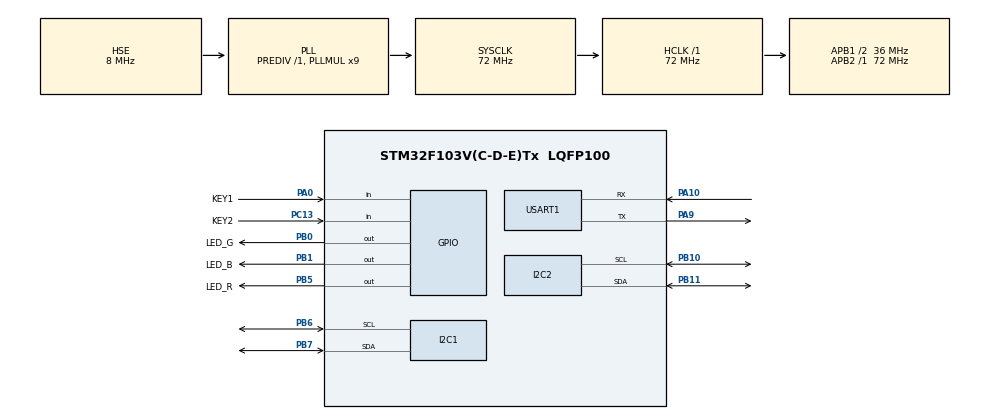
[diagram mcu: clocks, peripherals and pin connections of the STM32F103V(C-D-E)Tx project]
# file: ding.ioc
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Mcu.Family=STM32F1
Mcu.Name=STM32F103V(C-D-E)Tx
Mcu.Package=LQFP100
NVIC.PriorityGroup=NVIC_PRIORITYGROUP_4
NVIC.TIM2_IRQn=true\:0\:0\:false\:false\:true\:false\:true
NVIC.TIM3_IRQn=true\:4\:0\:true\:false\:true\:true\:true
NVIC.TIM4_IRQn=true\:5\:0\:true\:false\:true\:true\:true
NVIC.TimeBase=TIM2_IRQn
NVIC.TimeBaseIP=TIM2
NVIC.USART1_IRQn=true\:2\:0\:true\:false\:true\:true\:true
OSC_IN.Mode=HSE-External-Oscillator
OSC_IN.Signal=RCC_OSC_IN
OSC_OUT.Mode=HSE-External-Oscillator
OSC_OUT.Signal=RCC_OSC_OUT
PA0-WKUP.GPIO_Label=KEY1
PA0-WKUP.Signal=GPIO_Input
PA10.Mode=Asynchronous
PA10.Signal=USART1_RX
PA13.Mode=Serial_Wire
PA13.Signal=SYS_JTMS-SWDIO
PA14.Mode=Serial_Wire
PA14.Signal=SYS_JTCK-SWCLK
PA9.Mode=Asynchronous
PA9.Signal=USART1_TX
PB0.GPIO_Label=LED_G
PB0.GPIO_Speed=GPIO_SPEED_FREQ_HIGH
PB0.PinState=GPIO_PIN_SET
PB0.Signal=GPIO_Output
PB1.GPIO_Label=LED_B
PB1.GPIO_Speed=GPIO_SPEED_FREQ_HIGH
PB1.PinState=GPIO_PIN_SET
PB1.Signal=GPIO_Output
PB10.Mode=I2C
PB10.Signal=I2C2_SCL
PB11.Mode=I2C
PB11.Signal=I2C2_SDA
PB5.GPIO_Label=LED_R
PB5.GPIO_Speed=GPIO_SPEED_FREQ_HIGH
PB5.PinState=GPIO_PIN_SET
PB5.Signal=GPIO_Output
PB6.Mode=I2C
PB6.Signal=I2C1_SCL
PB7.Mode=I2C
PB7.Signal=I2C1_SDA
PC13-TAMPER-RTC.GPIO_Label=KEY2
PC13-TAMPER-RTC.Signal=GPIO_Input
ProjectManager.HeapSize=0x0
ProjectManager.StackSize=0x400
ProjectManager.TargetToolchain=MDK-ARM V5
RCC.AHBFreq_Value=72000000
RCC.APB1CLKDivider=RCC_HCLK_DIV2
RCC.APB1Freq_Value=36000000
RCC.APB1TimFreq_Value=72000000
RCC.APB2Freq_Value=72000000
RCC.APB2TimFreq_Value=72000000
RCC.HCLKFreq_Value=72000000
RCC.PLLMUL=RCC_PLL_MUL9
RCC.PLLSourceVirtual=RCC_PLLSOURCE_HSE
RCC.SYSCLKFreq_VALUE=72000000
RCC.SYSCLKSource=RCC_SYSCLKSOURCE_PLLCLK
RCC.USBFreq_Value=72000000
TIM3.AutoReloadPreload=TIM_AUTORELOAD_PRELOAD_ENABLE
TIM3.Period=9999
TIM3.Prescaler=7199
TIM4.AutoReloadPreload=TIM_AUTORELOAD_PRELOAD_ENABLE
TIM4.Period=9999
TIM4.Prescaler=7199
USART1.VirtualMode=VM_ASYNC
VP_SYS_VS_tim2.Mode=TIM2
VP_TIM3_VS_ClockSourceINT.Mode=Internal
VP_TIM4_VS_ClockSourceINT.Mode=Internal
board=custom

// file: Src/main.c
/* USER CODE BEGIN Header */
/**
  ******************************************************************************
  * @file           : main.c
  * @brief          : Main program body
  ******************************************************************************
  * @attention
  *
  * <h2><center>&copy; Copyright (c) 2020 STMicroelectronics.
  * All rights reserved.</center></h2>
  *
  * This software component is licensed by ST under BSD 3-Clause license,
  * the "License"; You may not use this file except in compliance with the
  * License. You may obtain a copy of the License at:
  *                        opensource.org/licenses/BSD-3-Clause
  *
  ******************************************************************************
  */
/* USER CODE END Header */

#include "main.h"
#include "i2c.h"
#include "tim.h"
#include "usart.h"
#include "gpio.h"

/* USER CODE BEGIN Includes */
#include "bsp_led.h"
#include "bsp_key.h"
#include "bsp_usart.h"

#include "FreeRTOS.h"
#include "task.h"

/* USER CODE END Includes */

void SystemClock_Config(void);
/* USER CODE BEGIN PFP */
void start_task(void *pvParameters);
void interrupt_task(void *pvParameters);

/* USER CODE END PFP */

/* USER CODE BEGIN 0 */
#define START_TASK_SIZE    128
#define START_TASK_PRIO    1
TaskHandle_t Start_Task_Handle;

#define INTERRUPT_TASK_SIZE   	128
#define INTERRUPT_TASK_PRIO    	2
TaskHandle_t Interrupt_Task_Handle;

/* USER CODE END 0 */

int main(void)
{

  /* MCU Configuration--------------------------------------------------------*/

  /* Reset of all peripherals, Initializes the Flash interface and the Systick. */
  HAL_Init();

  /* Configure the system clock */
  SystemClock_Config();

  /* Initialize all configured peripherals */
  MX_GPIO_Init();
  MX_USART1_UART_Init();
  MX_I2C1_Init();
  MX_I2C2_Init();
  MX_TIM3_Init();
  MX_TIM4_Init();
  /* USER CODE BEGIN 2 */
	HAL_TIM_Base_Start_IT(&htim3);
	HAL_TIM_Base_Start_IT(&htim4);

  // 创建开始任务
  xTaskCreate((TaskFunction_t ) start_task,
              (char *         ) "start_task",
              (uint16_t       ) START_TASK_SIZE,
              (void *         ) NULL,
              (UBaseType_t    ) START_TASK_PRIO,
              (TaskHandle_t * ) &Start_Task_Handle);

  vTaskStartScheduler();    // 开启调度器

  /* USER CODE END 2 */

  /* Infinite loop */
  while (1)
  {

  }
}

void SystemClock_Config(void)
{
  RCC_OscInitTypeDef RCC_OscInitStruct = {0};
  RCC_ClkInitTypeDef RCC_ClkInitStruct = {0};

  /** Initializes the CPU, AHB and APB busses clocks
  */
  RCC_OscInitStruct.OscillatorType = RCC_OSCILLATORTYPE_HSE;
  RCC_OscInitStruct.HSEState = RCC_HSE_ON;
  RCC_OscInitStruct.HSEPredivValue = RCC_HSE_PREDIV_DIV1;
  RCC_OscInitStruct.HSIState = RCC_HSI_ON;
  RCC_OscInitStruct.PLL.PLLState = RCC_PLL_ON;
  RCC_OscInitStruct.PLL.PLLSource = RCC_PLLSOURCE_HSE;
  RCC_OscInitStruct.PLL.PLLMUL = RCC_PLL_MUL9;
  if (HAL_RCC_OscConfig(&RCC_OscInitStruct) != HAL_OK)
  {
    Error_Handler();
  }
  /** Initializes the CPU, AHB and APB busses clocks
  */
  RCC_ClkInitStruct.ClockType = RCC_CLOCKTYPE_HCLK|RCC_CLOCKTYPE_SYSCLK
                              |RCC_CLOCKTYPE_PCLK1|RCC_CLOCKTYPE_PCLK2;
  RCC_ClkInitStruct.SYSCLKSource = RCC_SYSCLKSOURCE_PLLCLK;
  RCC_ClkInitStruct.AHBCLKDivider = RCC_SYSCLK_DIV1;
  RCC_ClkInitStruct.APB1CLKDivider = RCC_HCLK_DIV2;
  RCC_ClkInitStruct.APB2CLKDivider = RCC_HCLK_DIV1;

  if (HAL_RCC_ClockConfig(&RCC_ClkInitStruct, FLASH_LATENCY_2) != HAL_OK)
  {
    Error_Handler();
  }
}

/* USER CODE BEGIN 4 */

void start_task(void *pvParameters)
{
	// 创建中断任务
	xTaskCreate((TaskFunction_t ) interrupt_task,
							(char *         ) "interrupt_task",
							(uint16_t       ) INTERRUPT_TASK_SIZE,
							(void *         ) NULL,
							(UBaseType_t    ) INTERRUPT_TASK_PRIO,
							(TaskHandle_t * ) &Interrupt_Task_Handle);

  // 删除开始任务
  vTaskDelete(Start_Task_Handle);
}

// 中断测试任务
void interrupt_task(void *pvParameters)
{
	uint16_t cnt = 0;
	for (; ;)
	{
		// 运行2次后进入中断测试
		if (++cnt == 2)
		{
			printf("\n关闭中断...");
			portDISABLE_INTERRUPTS();
			// 堵塞延时3s，不会进入任务调度，但可以执行中断服务
			HAL_Delay(3000);
			printf("\n打开中断...");
			portENABLE_INTERRUPTS();
		}
		LED_R_TOGGLE;
		vTaskDelay(1000);
	}
}

/* USER CODE END 4 */

void HAL_TIM_PeriodElapsedCallback(TIM_HandleTypeDef *htim)
{
  if (htim->Instance == TIM2) {
    HAL_IncTick();
  }
}

void Error_Handler(void)
{
}

/************************ (C) COPYRIGHT STMicroelectronics *****END OF FILE****/
